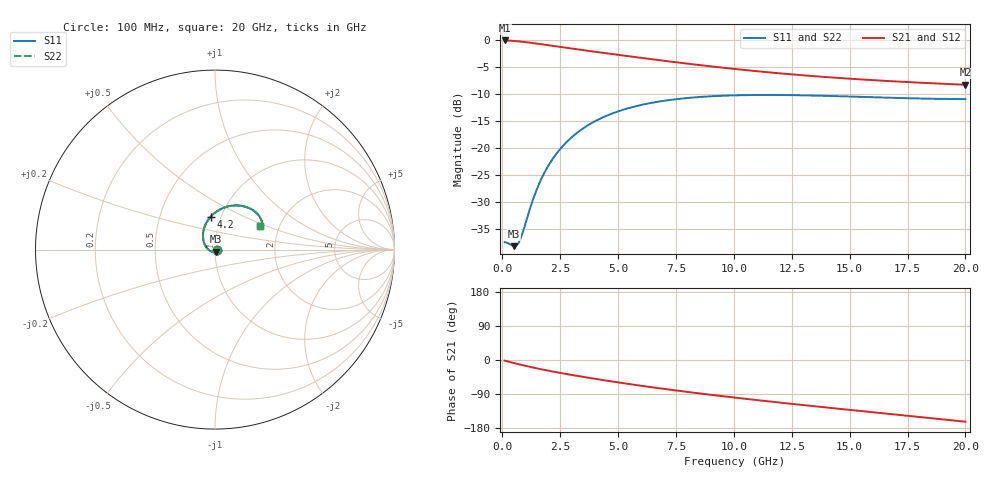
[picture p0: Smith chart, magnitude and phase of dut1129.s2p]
! Touchstone file exported from HFSS 2024.1.0
!  File:  C:/UserFiles/LocalFiles/RDL_TSV_Batchsim/temp_RDL_TSV_1129_1780109701.aedt
!  Generated:  11:07:39 AM May 30, 2026
!  Design:  RDL_TSV
!  Project:  temp_RDL_TSV_1129_1780109701
!  Setup:  Setup1
!  Solution:  Sweep
! Variables:
!  dtsv = 12.41um
!  hbump = 3um
!  htsv = 76.99um
!  ldown = 467.09um
!  lrdl = 173.72um
!  p = 40
!  p1 = 54.9um
!  rhole = 10um
!  subl = 2096.15um
!  t = 450um
!  tdown = 3.07um
!  trdl = 2.15um
!  viad = 10um
!  wdown = 20.68um
!  wrdl = 22.82um
!  xbump = 18um
# GHz S MA R 50.000000
! Terminal data exported
! Port[1] = TM1_1_T1
! Port[2] = TM1_4_T1
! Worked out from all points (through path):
!   200 points, 100 MHz to 20 GHz, reference 50 ohm
!   highest |S21| = -0.12 dB at 100 MHz (marker M1); lowest = -8.3 dB at 20 GHz (marker M2)
!   group delay of S21, straight-line fit = 21.1 ps
!   lowest |S11| = -38.1 dB at 500 MHz (marker M3), VSWR 1.03, Z = 50.6 - j1.11 ohm
!   |S11| at or under -10 dB: start of sweep to end of sweep
!   |S22| runs from -38.1 to -10.2 dB; largest |S21 - S12| = 1.6e-14
!   S11 on the Smith chart (normalised r, x): 100 MHz: 1.03, -0.00; 4.2 GHz: 0.89, +0.34; 20 GHz: 1.59, +0.45
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0.1  0.0135 -9.7  0.9859 -1.6  0.9859 -1.6  0.0135 -9.7
! Gamma 0 0 0 0
! Port Impedance 50 0 50 0
0.5  0.01241 -61.9  0.9758 -8.0  0.9758 -8.0  0.01242 -61.9
0.6  0.01251 -79.8  0.9718 -9.5  0.9718 -9.5  0.01252 -79.7
0.7  0.01323 -98.5  0.9674 -11.0  0.9674 -11.0  0.01324 -98.4
0.8  0.01474 -116.4  0.9626 -12.5  0.9626 -12.5  0.01475 -116.3
1.2  0.02778 -166.2  0.9403 -18.2  0.9403 -18.2  0.02775 -166.1
1.4  0.037 178.9  0.9279 -20.8  0.9279 -20.8  0.03695 178.9
1.7  0.05258 162.2  0.9088 -24.7  0.9088 -24.7  0.05249 162.3
2  0.0693 149.5  0.8896 -28.3  0.8896 -28.3  0.06918 149.6
2.3  0.08648 139.2  0.8708 -31.8  0.8708 -31.8  0.08633 139.2
2.7  0.1093 127.6  0.8467 -36.2  0.8467 -36.2  0.1091 127.7
3.1  0.1314 117.9  0.8237 -40.5  0.8237 -40.5  0.1312 118.0
3.5  0.1524 109.6  0.8018 -44.6  0.8018 -44.6  0.1521 109.6
4.2  0.1858 97.2  0.7654 -51.6  0.7654 -51.6  0.1854 97.2
5.4  0.232 80.6  0.7078 -62.7  0.7078 -62.7  0.2316 80.6
6.8  0.2696 66.0  0.6474 -74.7  0.6474 -74.7  0.269 66.0
8.4  0.2949 53.5  0.5879 -87.3  0.5879 -87.3  0.2943 53.5
10.1  0.3071 43.7  0.5357 -99.6  0.5357 -99.6  0.3065 43.7
11.7  0.3093 36.9  0.4961 -110.5  0.4961 -110.5  0.3087 36.9
13.4  0.3057 31.8  0.4625 -121.5  0.4625 -121.5  0.3051 31.8
16.7  0.2917 27.0  0.4156 -142.2  0.4156 -142.2  0.2911 26.9
20  0.2833 27.4  0.3845 -162.8  0.3845 -162.8  0.2828 27.4
